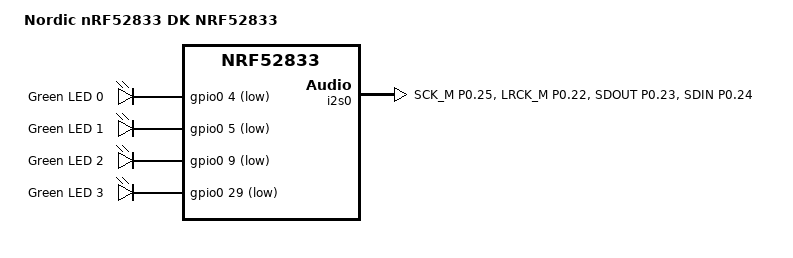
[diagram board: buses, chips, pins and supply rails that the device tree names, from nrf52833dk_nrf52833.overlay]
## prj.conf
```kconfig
# UART support
CONFIG_SERIAL=y

CONFIG_ENTROPY_GENERATOR=y
CONFIG_TEST_RANDOM_GENERATOR=y
CONFIG_INIT_STACKS=y
CONFIG_HW_STACK_PROTECTION=y
CONFIG_NEWLIB_LIBC=y
CONFIG_JSON_LIBRARY=y
CONFIG_GPIO=y
CONFIG_BT=y
CONFIG_BT_OBSERVER=y
CONFIG_BT_BROADCASTER=y
CONFIG_BT_EXT_ADV=y
CONFIG_BT_CENTRAL=y
CONFIG_BT_FILTER_ACCEPT_LIST=y

# Enable Extended Scanning
CONFIG_BT_EXT_SCAN_BUF_SIZE=1650

# Zephyr Bluetooth LE Controller needs 16 event buffers to generate Extended
# Advertising Report for receiving the complete 1650 bytes of data
CONFIG_BT_BUF_EVT_RX_COUNT=20

#PERIODIC SCANNING CONFIGURATION 
CONFIG_BT_PER_ADV_SYNC=y
CONFIG_BT_PER_ADV_SYNC_BUF_SIZE=1650
CONFIG_BT_CTLR_SDC_PERIODIC_SYNC_BUFFER_COUNT=10

CONFIG_LOG=y

#############
CONFIG_BT_PER_ADV_SYNC_MAX=4

CONFIG_BT_LL_SOFTDEVICE=y
CONFIG_LOG_MODE_MINIMAL=y
```

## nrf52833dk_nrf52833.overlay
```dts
#include <zephyr/dt-bindings/led/led.h>

/ {
	model = "Nordic nRF52833 DK NRF52833";
    compatible = "nordic,nrf52833-dk-nrf52833";

	chosen {
		zephyr,console = &uart0;
		zephyr,shell-uart = &uart0;
		zephyr,uart-mcumgr = &uart0;
		zephyr,bt-mon-uart = &uart0;
		zephyr,bt-c2h-uart = &uart0;
		zephyr,sram = &sram0;
		zephyr,flash = &flash0;
		zephyr,code-partition = &slot0_partition;
	};

	leds {
		compatible = "gpio-leds";
		led0: led_0 {
			gpios = <&gpio0 4 GPIO_ACTIVE_LOW>;
			label = "Green LED 0";
		};
		led1: led_1 {
			gpios = <&gpio0 5 GPIO_ACTIVE_LOW>;
			label = "Green LED 1";
		};
		led2: led_2 {
			gpios = <&gpio0 9 GPIO_ACTIVE_LOW>;
			label = "Green LED 2";
		};
		led3: led_3 {
			gpios = <&gpio0 29 GPIO_ACTIVE_LOW>;
			label = "Green LED 3";
		};
	};
};
&pinctrl {

    i2s0_default_alt: i2s0_default_alt {
        group1 {
            /* Default I2S config for the nRF52832, P0.23 is the output */
            psels = <NRF_PSEL(I2S_SCK_M, 0, 25)>,
                    <NRF_PSEL(I2S_LRCK_M, 0, 22)>,
                    <NRF_PSEL(I2S_SDOUT, 0, 23)>,                                      
                    <NRF_PSEL(I2S_SDIN, 0, 24)>;
        };
    };
};

i2s_led: &i2s0 {
    status = "okay";
    pinctrl-0 = <&i2s0_default_alt>;
    pinctrl-names = "default";
};

/ {
    led_strip: ws2812 {
        compatible = "worldsemi,ws2812-i2s";

        i2s-dev = <&i2s_led>;
        chain-length = <32>; /* arbitrary; change at will */
        color-mapping = <LED_COLOR_ID_GREEN
        LED_COLOR_ID_RED
        LED_COLOR_ID_BLUE>;
        reset-delay = <500>;
    };

    aliases {
        led-strip = &led_strip;
    };
};
```

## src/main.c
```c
/*
 * Copyright (c) 2022 Nordic Semiconductor ASA
 *
 * SPDX-License-Identifier: Apache-2.0
 */

#include <zephyr/kernel.h>
#include <zephyr/sys/printk.h>
#include <zephyr/bluetooth/bluetooth.h>

int observer_start(void);

static void set_random_static_address(void)
{
int err;
        int err1;
	printk("Starting iBeacon Demo\n");
        
		bt_addr_le_t addr;

		//convert the string into a binary address and stores this address in a buffer whose address is addr. 
		err=bt_addr_le_from_str("DE:AD:BE:AF:BA:11","random" , &addr);  //Only random static address can be given when the type is set to "random"
        if (err) {
			printk("Invalid BT address (err %d)\n", err);
		}

                //create a new Identity address. This must be done before enabling Bluetooth. Addr is the address used for the new identity
		err1=bt_id_create(&addr, NULL);
                if (err1 < 0) {
			printk("Creating new ID failed (err %d)\n", err1);
		}
            printk("Created new address\n");
 }

int main(void)
{
	int err;

	printk("Starting Observer Demo\n");

	set_random_static_address();

	/* Initialize the Bluetooth Subsystem */
	err = bt_enable(NULL);
	if (err) {
		printk("Bluetooth init failed (err %d)\n", err);
		return 0;
	}

	(void)observer_start();

	// printk("Exiting %s thread.\n", __func__);
	return 0;
}
```

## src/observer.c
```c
#include <stddef.h>
#include "headers/main_observer.h"
#include <zephyr/bluetooth/bluetooth.h>
#include <zephyr/bluetooth/hci.h>
#include <zephyr/sys/printk.h>
#include <zephyr/pm/pm.h>
#include <hal/nrf_gpio.h>
#include <zephyr/devicetree.h>
#include <stdio.h>
#define LOG_LEVEL 4
#include <zephyr/logging/log.h>
#include <zephyr/kernel.h>
#include <zephyr/device.h>
#include <zephyr/drivers/gpio.h>
#include <zephyr/sys/util.h>



// Define remote devices
uint8_t remote1 = 1;
uint8_t remote2 = 2;

/* GPIO pin definitions for LEDs on the board */

#define LED0_NODE DT_ALIAS(led0)
static const struct gpio_dt_spec led0 = GPIO_DT_SPEC_GET(LED0_NODE, gpios);

#define LED1_NODE DT_ALIAS(led1)
static const struct gpio_dt_spec led1 = GPIO_DT_SPEC_GET(LED1_NODE, gpios);

#define LED2_NODE DT_ALIAS(led2)
static const struct gpio_dt_spec led2 = GPIO_DT_SPEC_GET(LED2_NODE, gpios);

#define STACKSIZE 2048   // Stack size for threads
#define THREAD0_PRIORITY 7  // Thread priority

// Variables to manage remote counters and connection state
static int connection_flag = 0;
static int counter_remote1 = 0;
static int counter_remote2 = 0;
LOG_MODULE_DECLARE(gateway, LOG_LEVEL_DBG);  // Declare log module for the gateway

/* It is data callback function. It is executed whenever the system receives an advertising packet. */
#if defined(CONFIG_BT_EXT_ADV)
static bool data_cb(struct bt_data *data, void *user_data)
{
	/* data_cb is executed whenever some advertising packet comes. */
	LOG_INF("IN DATA CB");  // Log message for entering data callback

	// Check the type of Bluetooth advertising data
	switch (data->type)
	{
	case BT_DATA_NAME_SHORTENED:
	case BT_DATA_NAME_COMPLETE:
	case BT_DATA_MANUFACTURER_DATA:

		int index = 0;
		uint8_t write_array[3]; // Store received data (max 3 bytes)
		write_array[0] = 0;

		/* Copy data into write_array */
		for (int j = 0; j < 3; j++)
		{
			char number = data->data[j + index];
			write_array[j] = number;
			printk("%d ", write_array[j]); // Print the received byte
		}

		// Handle remote 1 (example remote device with identifier 1)
		if (write_array[0] == remote1)
		{
			counter_remote1++;
			if (counter_remote1 == 1)
			{
				// Turn on the board LED
				gpio_pin_configure_dt(&led0, GPIO_OUTPUT | GPIO_ACTIVE_LOW);
				gpio_pin_set_dt(&led0, 1); // Set LED to ON
			}
			else if (counter_remote1 == 2)
			{
				// Turn off the board LED
				gpio_pin_configure_dt(&led0, GPIO_OUTPUT | GPIO_ACTIVE_LOW);
				gpio_pin_set_dt(&led0, 0); // Set LED to OFF
				counter_remote1 = 0;
			}
		}
		// Handle remote 2 (example remote device with identifier 2)
		if (write_array[0] == remote2)
		{
			counter_remote2++;
			if (counter_remote2 == 1)
			{
				// Turn on the board LED
				gpio_pin_configure_dt(&led0, GPIO_OUTPUT | GPIO_ACTIVE_LOW);
				gpio_pin_set_dt(&led0, 1); // Set LED to ON
			}
			else if (counter_remote2 == 2)
			{
				// Turn off the board LED
				gpio_pin_configure_dt(&led0, GPIO_OUTPUT | GPIO_ACTIVE_LOW);
				gpio_pin_set_dt(&led0, 0); // Set LED to OFF
				counter_remote2 = 0;
			}
		}
	}
	return true;
}
#endif /* CONFIG_BT_EXT_ADV */

// Scan callback function for handling received BLE advertising packets
static void scan_recv(const struct bt_le_scan_recv_info *info, struct net_buf_simple *buf)
{
	/* Executed when we receive the packet from the advertising node. */
	char le_addr[BT_ADDR_LE_STR_LEN];
	uint8_t data_status;
	uint16_t data_len;
	char name[30];   // Name of the device (advertising data)

	data_len = buf->len;
	bt_data_parse(buf, data_cb, name); // Parse the advertisement data and call data_cb

	data_status = BT_HCI_LE_ADV_EVT_TYPE_DATA_STATUS(info->adv_props);
	// Convert the Bluetooth address to string and print it
	bt_addr_le_to_str(info->addr, le_addr, sizeof(le_addr));
}

static struct bt_le_scan_cb scan_callbacks = {
	.recv = scan_recv,
};

int observer_start(void)
{
	bt_addr_le_t addr1;

	bt_addr_le_from_str("DE:AD:BE:AF:BA:11", "random", &addr1); // Convert MAC address to bt_addr_le_t structure

	int err = bt_le_filter_accept_list_add(&addr1);  // Add address to the filter accept list
	if (err == 0)
	{
		printk("Successfully added the address to Filter Accept List..\n");
	}
	else
	{
		printk("Failed to update Filter Accept List..\n");
	}

	struct bt_le_scan_param scan_param = {
		.type = BT_LE_SCAN_TYPE_PASSIVE,
		.options = BT_LE_SCAN_OPT_FILTER_DUPLICATE | BT_LE_SCAN_OPT_FILTER_ACCEPT_LIST,
		.interval = 0x0030,
		.window = 0x0030,
	};

	bt_le_scan_cb_register(&scan_callbacks);
	err = bt_le_scan_start(&scan_param, NULL);

	if (err)
	{
		LOG_INF("Start scanning failed (err %d)\n", err);
		return err;
	}
	LOG_INF("Started scanning...\n");
	return 0;
}

// Initialize the observer (Bluetooth setup and configuration)
int init_observer(void)
{
	/* Observer Initialization. */
	LOG_ERR("observer init.....");

	/* Enabling Bluetooth. */
	int err = bt_enable(NULL);
	if (err)
	{
		LOG_ERR("Bluetooth init failed (err %d)\n", err);
		return err;
	}

	return 0;
}
```
